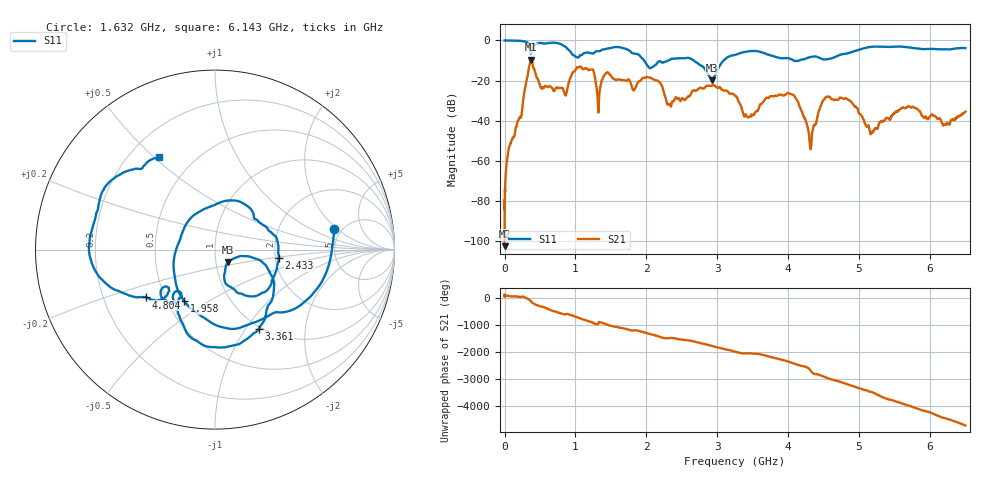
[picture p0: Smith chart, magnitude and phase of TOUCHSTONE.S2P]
!Keysight Technologies,E5063A,MY54503115,A.05.08
!Date: Fri Oct 20 10:13:52 2023
!Data & Calibration Information:
!Freq	S11:NONE(--)	S21:NONE(--)	S12:NONE(--)	S22:NONE(--)
# Hz S dB R 50
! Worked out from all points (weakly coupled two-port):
!   10001 points, 300 kHz to 6.5 GHz, reference 50 ohm
!   highest |S21| = -9.60 dB at 374 MHz (marker M1); lowest = -102.7 dB at 300 kHz (marker M2)
!   lowest |S11| = -19.9 dB at 2.926 GHz (marker M3), VSWR 1.22, Z = 57.4 - j7.99 ohm
!   |S11| at or under -10 dB: 1.968 GHz to 2.309 GHz (341.4 MHz wide, 16 % of centre); 2.667 GHz to 3.089 GHz (422.5 MHz wide, 14.7 % of centre); 4.077 GHz to 4.155 GHz (78.43 MHz wide, 1.91 % of centre)
!   S12 and S22 are empty: the file has one direction only
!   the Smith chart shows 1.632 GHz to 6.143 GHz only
!   S11 on the Smith chart (normalised r, x): 1.632 GHz: 4.31, +1.84; 1.958 GHz: 0.61, -0.39; 2.433 GHz: 2.09, -0.22; 3.361 GHz: 0.97, -1.15; 4.804 GHz: 0.40, -0.27; 6.143 GHz: 0.32, +0.52
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300000  0.01 -0.5  -102.68 130.4  -200.00 0.0  -200.00 0.0
2.264896e8  -0.20 -73.4  -38.63 39.1  -200.00 0.0  -200.00 0.0
3.740328e8  -6.31 -110.6  -9.60 -126.9  -200.00 0.0  -200.00 0.0
5.813732e8  -1.49 173.5  -22.86 -8.0  -200.00 0.0  -200.00 0.0
7.321662e8  -1.23 96.6  -23.55 -152.7  -200.00 0.0  -200.00 0.0
8.569605e8  -3.12 8.1  -27.38 121.2  -200.00 0.0  -200.00 0.0
1.0838e9  -7.32 -150.8  -13.37 -54.3  -200.00 0.0  -200.00 0.0
1.392536e9  -4.49 86.6  -18.24 151.2  -200.00 0.0  -200.00 0.0
1.631725e9  -3.43 9.9  -19.66 -15.9  -200.00 0.0  -200.00 0.0
1.95801e9  -9.52 -121.1  -18.65 -179.6  -200.00 0.0  -200.00 0.0
2.1673e9  -10.66 69.0  -20.32 28.2  -200.00 0.0  -200.00 0.0
2.433138e9  -8.90 -7.2  -29.03 -70.2  -200.00 0.0  -200.00 0.0
2.925815e9  -19.93 -43.1  -22.46 34.3  -200.00 0.0  -200.00 0.0
3.25015e9  -7.24 -47.6  -27.62 -177.3  -200.00 0.0  -200.00 0.0
3.360645e9  -5.93 -61.3  -35.79 116.3  -200.00 0.0  -200.00 0.0
4.030114e9  -9.16 -132.3  -26.64 150.1  -200.00 0.0  -200.00 0.0
4.33365e9  -8.12 -132.3  -48.05 148.3  -200.00 0.0  -200.00 0.0
4.513692e9  -9.53 -141.0  -29.13 -31.4  -200.00 0.0  -200.00 0.0
4.804228e9  -6.64 -145.1  -28.78 86.3  -200.00 0.0  -200.00 0.0
5.41715e9  -3.20 162.6  -38.95 -143.5  -200.00 0.0  -200.00 0.0
6.143166e9  -4.40 121.0  -38.94 -59.5  -200.00 0.0  -200.00 0.0
6.5e9  -3.79 107.5  -35.52 -25.5  -200.00 0.0  -200.00 0.0
